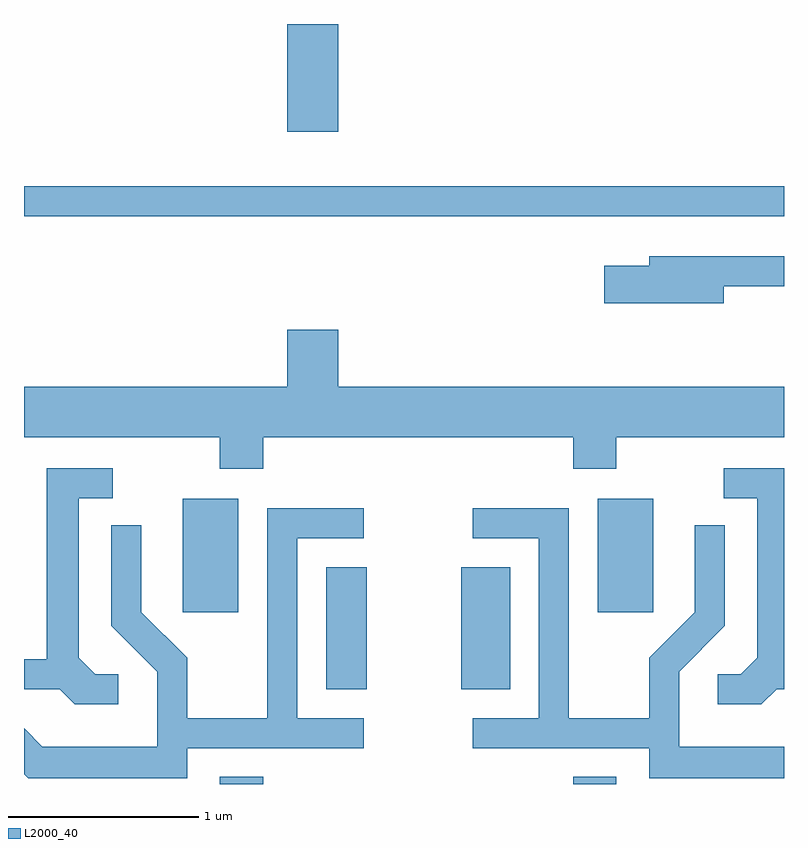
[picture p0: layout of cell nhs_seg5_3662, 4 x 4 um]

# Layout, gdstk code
import gdstk
lib = gdstk.Library(unit=1e-6, precision=1e-09)
def R(c, l, rs):  # rectangles x0, y0, x1, y1
    for r in rs: c.add(gdstk.rectangle(r[:2], r[2:], *l))
def P(c, l, *ps):  # polygons
    for p in ps: c.add(gdstk.Polygon(p, *l))
L2000_40 = (2000, 40)

nhs_seg5_3662 = lib.new_cell('nhs_seg5_3662')
R(nhs_seg5_3662, L2000_40, [(294.641,1466.072,294.869,1466.109), (296.501,1466.072,296.729,1466.109), (295.201,1466.571,295.414,1467.214), (295.911,1466.571,296.169,1467.214), (294.446,1466.976,294.739,1467.574), (296.631,1466.976,296.924,1467.574), (293.611,1469.061,297.611,1469.219), (294.996,1469.506,295.264,1470.072)])
P(nhs_seg5_3662, L2000_40, [(297.294,1468.691),(297.611,1468.691),(297.611,1468.849),(296.901,1468.849),(296.901,1468.799),(296.666,1468.799),(296.666,1468.601),(297.294,1468.601)],
  [(295.264,1468.464),(294.996,1468.464),(294.996,1468.164),(293.611,1468.164),(293.611,1467.896),(294.641,1467.896),(294.641,1467.731),(294.869,1467.731),(294.869,1467.896),(296.501,1467.896),(296.501,1467.731),(296.729,1467.731),(296.729,1467.896),(297.611,1467.896),(297.611,1468.164),(295.264,1468.164)],
  [(294.108,1466.649),(293.987,1466.649),(293.899,1466.737),(293.899,1467.576),(294.078,1467.576),(294.078,1467.734),(293.731,1467.734),(293.731,1466.729),(293.611,1466.729),(293.611,1466.571),(293.799,1466.571),(293.879,1466.491),(294.108,1466.491)],
  [(297.572,1466.571),(297.611,1466.571),(297.611,1467.734),(297.293,1467.734),(297.293,1467.576),(297.471,1467.576),(297.471,1466.737),(297.384,1466.649),(297.263,1466.649),(297.263,1466.491),(297.492,1466.491)],
  [(294.469,1466.261),(295.398,1466.261),(295.398,1466.419),(295.049,1466.419),(295.049,1467.366),(295.398,1467.366),(295.398,1467.524),(294.891,1467.524),(294.891,1466.419),(294.469,1466.419),(294.469,1466.737),(294.229,1466.977),(294.229,1467.433),(294.071,1467.433),(294.071,1466.904),(294.311,1466.664),(294.311,1466.269),(293.707,1466.269),(293.611,1466.365),(293.611,1466.124),(293.634,1466.101),(294.469,1466.101)],
  [(297.611,1466.269),(297.059,1466.269),(297.059,1466.664),(297.299,1466.904),(297.299,1467.433),(297.141,1467.433),(297.141,1466.977),(296.901,1466.737),(296.901,1466.419),(296.479,1466.419),(296.479,1467.524),(295.973,1467.524),(295.973,1467.366),(296.321,1467.366),(296.321,1466.419),(295.973,1466.419),(295.973,1466.261),(296.901,1466.261),(296.901,1466.101),(297.611,1466.101)])

lib.write_gds('nhs_seg5_3662.gds')
